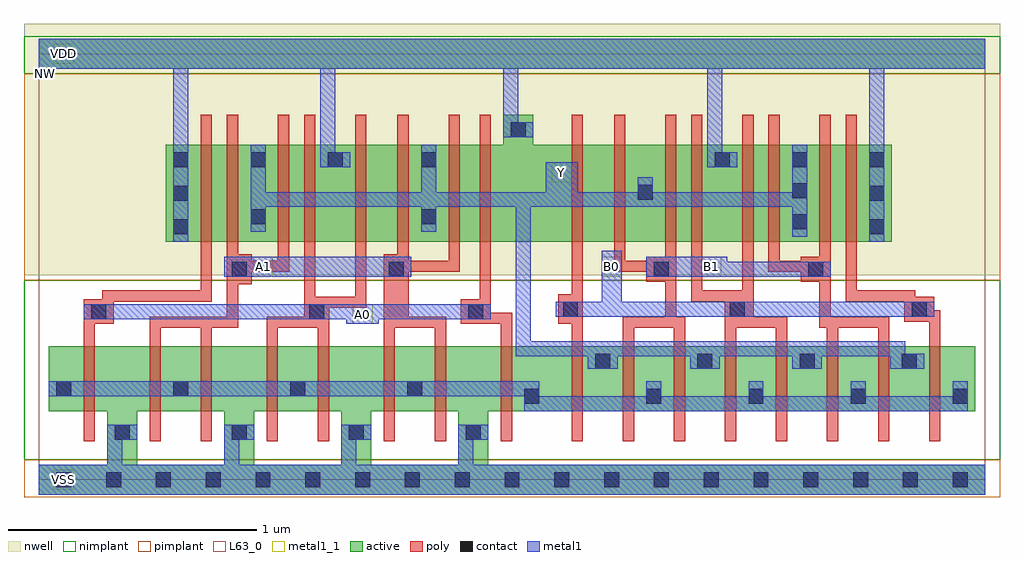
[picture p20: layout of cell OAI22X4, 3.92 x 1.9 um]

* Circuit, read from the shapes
.subckt OAI22X4 A0 A1 B0 B1 NW VDD VSS Y
M1 VSS A0 n1 VSS nfet w=0.26u l=0.045u m=4
M2 n1 A1 VSS VSS nfet w=0.26u l=0.045u m=4
M3 Y B0 n1 VSS nfet w=0.26u l=0.045u m=4
M4 n1 B1 Y VSS nfet w=0.26u l=0.045u m=4
M5 n2 A0 VDD NW pfet w=0.39u l=0.045u
M6 Y A1 n2 NW pfet w=0.39u l=0.045u
M7 n3 A1 Y NW pfet w=0.39u l=0.045u
M8 VDD A0 n3 NW pfet w=0.39u l=0.045u
M9 n4 A0 VDD NW pfet w=0.39u l=0.045u
M10 Y A1 n4 NW pfet w=0.39u l=0.045u
M11 n5 A1 Y NW pfet w=0.39u l=0.045u
M12 VDD A0 n5 NW pfet w=0.39u l=0.045u
M13 n6 B0 VDD NW pfet w=0.39u l=0.045u
M14 Y B1 n6 NW pfet w=0.39u l=0.045u
M15 n7 B1 Y NW pfet w=0.39u l=0.045u
M16 VDD B0 n7 NW pfet w=0.39u l=0.045u
M17 n8 B0 VDD NW pfet w=0.39u l=0.045u
M18 Y B1 n8 NW pfet w=0.39u l=0.045u
M19 n9 B1 Y NW pfet w=0.39u l=0.045u
M20 VDD B0 n9 NW pfet w=0.39u l=0.045u
.ends

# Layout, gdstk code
import gdstk
lib = gdstk.Library(unit=1e-6, precision=5e-10)
def R(c, l, rs):  # rectangles x0, y0, x1, y1
    for r in rs: c.add(gdstk.rectangle(r[:2], r[2:], *l))
def A(c, l, x, y, w, h, nx, ny, dx, dy):  # array of equal rectangles
    R(c, l, [(x+i*dx, y+j*dy, x+i*dx+w, y+j*dy+h) for i in range(nx) for j in range(ny)])
def P(c, l, *ps):  # polygons
    for p in ps: c.add(gdstk.Polygon(p, *l))
active = (1, 0)
nwell = (2, 0)
poly = (3, 0)
nimplant = (4, 0)
pimplant = (5, 0)
contact = (6, 0)
metal1 = (7, 0)
metal1_1 = (7, 1)
L63_0 = (63, 0)

oai22x4 = lib.new_cell('OAI22X4')
R(oai22x4, active, [(0,-0.06,3.8,0.06), (0,1.65,3.8,1.77)])
P(oai22x4, active, [(1.865,1.465),(1.985,1.465),(1.985,1.345),(3.425,1.345),(3.425,0.955),(0.51,0.955),(0.51,1.345),(1.865,1.345)],
  [(3.76,0.535),(0.04,0.535),(0.04,0.275),(0.275,0.275),(0.275,0.06),(0.395,0.06),(0.395,0.275),(0.745,0.275),(0.745,0.06),(0.865,0.06),(0.865,0.275),(1.215,0.275),(1.215,0.06),(1.335,0.06),(1.335,0.275),(1.685,0.275),(1.685,0.06),(1.805,0.06),(1.805,0.275),(3.76,0.275)])
R(oai22x4, nwell, [(-0.06,0.82,3.86,1.83), (0,1.61,0.05,1.71)])
P(oai22x4, poly, [(0.65,1.465),(0.695,1.465),(0.695,0.715),(0.3,0.715),(0.3,0.625),(0.225,0.625),(0.225,0.155),(0.18,0.155),(0.18,0.725),(0.255,0.725),(0.255,0.76),(0.65,0.76)],
  [(0.755,1.465),(0.8,1.465),(0.8,0.905),(0.855,0.905),(0.855,0.88),(0.96,0.88),(0.96,1.465),(1.005,1.465),(1.005,0.835),(0.855,0.835),(0.855,0.785),(0.8,0.785),(0.8,0.61),(0.695,0.61),(0.695,0.155),(0.65,0.155),(0.65,0.61),(0.49,0.61),(0.49,0.155),(0.445,0.155),(0.445,0.655),(0.755,0.655)],
  [(1.065,1.465),(1.11,1.465),(1.11,0.735),(1.27,0.735),(1.27,1.465),(1.315,1.465),(1.315,0.69),(1.165,0.69),(1.165,0.155),(1.12,0.155),(1.12,0.61),(0.96,0.61),(0.96,0.155),(0.915,0.155),(0.915,0.655),(1.065,0.655)],
  [(1.44,1.465),(1.485,1.465),(1.485,0.88),(1.645,0.88),(1.645,1.465),(1.69,1.465),(1.69,0.835),(1.485,0.835),(1.485,0.655),(1.635,0.655),(1.635,0.155),(1.59,0.155),(1.59,0.61),(1.43,0.61),(1.43,0.155),(1.385,0.155),(1.385,0.905),(1.44,0.905)],
  [(1.77,1.465),(1.815,1.465),(1.815,0.67),(1.9,0.67),(1.9,0.155),(1.855,0.155),(1.855,0.625),(1.695,0.625),(1.695,0.725),(1.77,0.725)],
  [(2.14,1.465),(2.185,1.465),(2.185,0.155),(2.14,0.155),(2.14,0.625),(2.085,0.625),(2.085,0.745),(2.14,0.745)],
  [(2.31,1.465),(2.355,1.465),(2.355,0.88),(2.44,0.88),(2.44,0.895),(2.515,0.895),(2.515,1.465),(2.56,1.465),(2.56,0.655),(2.595,0.655),(2.595,0.155),(2.55,0.155),(2.55,0.61),(2.39,0.61),(2.39,0.155),(2.345,0.155),(2.345,0.655),(2.515,0.655),(2.515,0.795),(2.44,0.795),(2.44,0.835),(2.31,0.835)],
  [(2.62,1.465),(2.665,1.465),(2.665,0.76),(2.825,0.76),(2.825,1.465),(2.87,1.465),(2.87,0.655),(3.005,0.655),(3.005,0.155),(2.96,0.155),(2.96,0.61),(2.8,0.61),(2.8,0.155),(2.755,0.155),(2.755,0.715),(2.62,0.715)],
  [(2.93,1.465),(2.975,1.465),(2.975,0.88),(3.06,0.88),(3.06,0.895),(3.135,0.895),(3.135,1.465),(3.18,1.465),(3.18,0.655),(3.415,0.655),(3.415,0.155),(3.37,0.155),(3.37,0.61),(3.21,0.61),(3.21,0.155),(3.165,0.155),(3.165,0.61),(3.135,0.61),(3.135,0.795),(3.06,0.795),(3.06,0.835),(2.93,0.835)],
  [(3.24,1.465),(3.285,1.465),(3.285,0.76),(3.52,0.76),(3.52,0.735),(3.595,0.735),(3.595,0.68),(3.62,0.68),(3.62,0.155),(3.575,0.155),(3.575,0.635),(3.475,0.635),(3.475,0.715),(3.24,0.715)])
R(oai22x4, nimplant, [(-0.06,0.08,3.86,0.8), (-0.06,1.63,3.86,1.78)])
R(oai22x4, pimplant, [(-0.06,-0.07,3.86,0.08), (-0.06,0.8,3.86,1.63)])
A(oai22x4, contact, 0.07, -0.03, 0.06, 0.06, 19, 1, 0.2, 0)
A(oai22x4, contact, 0.305, 0.16, 0.06, 0.06, 4, 1, 0.47, 0)
A(oai22x4, contact, 2.44, 0.305, 0.06, 0.06, 4, 1, 0.41, 0)
A(oai22x4, contact, 0.07, 0.335, 0.06, 0.06, 4, 1, 0.47, 0)
A(oai22x4, contact, 2.235, 0.445, 0.06, 0.06, 4, 1, 0.41, 0)
A(oai22x4, contact, 0.54, 1.255, 0.06, 0.06, 3, 1, 0.31, 0)
A(oai22x4, contact, 2.715, 1.255, 0.06, 0.06, 3, 1, 0.31, 0)
R(oai22x4, contact, [(1.95,0.305,2.01,0.365), (0.21,0.645,0.27,0.705), (1.085,0.645,1.145,0.705), (1.725,0.645,1.785,0.705), (2.105,0.655,2.165,0.715), (2.775,0.655,2.835,0.715), (3.505,0.655,3.565,0.715), (0.775,0.815,0.835,0.875), (1.405,0.815,1.465,0.875), (2.47,0.815,2.53,0.875), (3.09,0.815,3.15,0.875), (0.54,0.985,0.6,1.045), (3.335,0.985,3.395,1.045), (3.025,1.005,3.085,1.065), (0.85,1.025,0.91,1.085), (1.535,1.025,1.595,1.085), (0.54,1.12,0.6,1.18), (3.335,1.12,3.395,1.18), (2.405,1.125,2.465,1.185), (3.025,1.13,3.085,1.19), (1.535,1.255,1.595,1.315), (1.895,1.375,1.955,1.435)])
R(oai22x4, metal1, [(0.745,0.815,1.495,0.895), (0.54,0.955,0.6,1.65), (3.335,0.955,3.395,1.65)])
P(oai22x4, metal1, [(1.25,1.315),(1.19,1.315),(1.19,1.65),(1.13,1.65),(1.13,1.255),(1.25,1.255)],
  [(1.985,1.435),(1.925,1.435),(1.925,1.65),(1.865,1.65),(1.865,1.375),(1.985,1.375)],
  [(2.805,1.315),(2.745,1.315),(2.745,1.65),(2.685,1.65),(2.685,1.255),(2.805,1.255)],
  [(0.395,0.22),(0.275,0.22),(0.275,0.06),(0.335,0.06),(0.335,0.16),(0.395,0.16)],
  [(0.865,0.22),(0.745,0.22),(0.745,0.06),(0.805,0.06),(0.805,0.16),(0.865,0.16)],
  [(1.335,0.22),(1.215,0.22),(1.215,0.06),(1.275,0.06),(1.275,0.16),(1.335,0.16)],
  [(0.85,1.345),(0.91,1.345),(0.91,1.155),(1.535,1.155),(1.535,1.345),(1.595,1.345),(1.595,1.155),(2.035,1.155),(2.035,1.275),(2.165,1.275),(2.165,1.155),(2.405,1.155),(2.405,1.215),(2.465,1.215),(2.465,1.155),(3.025,1.155),(3.025,1.345),(3.085,1.345),(3.085,0.975),(3.025,0.975),(3.025,1.095),(1.975,1.095),(1.975,0.555),(3.48,0.555),(3.48,0.505),(3.555,0.505),(3.555,0.445),(3.42,0.445),(3.42,0.495),(3.145,0.495),(3.145,0.445),(3.025,0.445),(3.025,0.495),(2.735,0.495),(2.735,0.445),(2.615,0.445),(2.615,0.495),(2.325,0.495),(2.325,0.445),(2.205,0.445),(2.205,0.495),(1.915,0.495),(1.915,1.095),(1.595,1.095),(1.595,0.995),(1.535,0.995),(1.535,1.095),(0.91,1.095),(0.91,0.995),(0.85,0.995)],
  [(0.18,0.705),(1.815,0.705),(1.815,0.645),(1.365,0.645),(1.365,0.625),(1.235,0.625),(1.235,0.645),(0.18,0.645)],
  [(2.44,0.895),(2.765,0.895),(2.765,0.875),(3.18,0.875),(3.18,0.815),(2.44,0.815)],
  [(2.26,0.92),(2.34,0.92),(2.34,0.715),(3.595,0.715),(3.595,0.655),(2.075,0.655),(2.075,0.715),(2.26,0.715)],
  [(0.04,0.395),(2.01,0.395),(2.01,0.335),(2.44,0.335),(2.44,0.395),(2.5,0.395),(2.5,0.335),(2.85,0.335),(2.85,0.395),(2.91,0.395),(2.91,0.335),(3.26,0.335),(3.26,0.395),(3.32,0.395),(3.32,0.335),(3.67,0.335),(3.67,0.395),(3.73,0.395),(3.73,0.275),(1.95,0.275),(1.95,0.335),(0.04,0.335)],
  [(1.805,0.22),(1.685,0.22),(1.685,0.06),(1.745,0.06),(1.745,0.16),(1.805,0.16)])
R(oai22x4, metal1_1, [(0.06,-0.04,0.14,0.04), (1.26,0.625,1.34,0.705), (0.86,0.815,0.94,0.895), (2.26,0.815,2.34,0.895), (2.66,0.815,2.74,0.895), (2.06,1.195,2.14,1.275), (0.06,1.67,0.14,1.75)])
R(oai22x4, L63_0, [(0,0,3.8,1.71)])
oai22x4.add(gdstk.FlexPath([(0,0),(3.8,0)], 0.12, ends="flush", simple_path=True, layer=7, datatype=0))  # metal1
oai22x4.add(gdstk.FlexPath([(0,1.71),(3.8,1.71)], 0.12, ends="flush", simple_path=True, layer=7, datatype=0))  # metal1
oai22x4.add(gdstk.Label('Y', (2.1,1.235), layer=7, texttype=1))
oai22x4.add(gdstk.Label('A1', (0.9,0.855), layer=7, texttype=1))
oai22x4.add(gdstk.Label('B1', (2.7,0.855), layer=7, texttype=1))
oai22x4.add(gdstk.Label('A0', (1.3,0.665), layer=7, texttype=1))
oai22x4.add(gdstk.Label('B0', (2.3,0.855), layer=7, texttype=1))
oai22x4.add(gdstk.Label('VDD', (0.1,1.71), layer=7, texttype=1))
oai22x4.add(gdstk.Label('VSS', (0.1,0), layer=7, texttype=1))
oai22x4.add(gdstk.Label('VSS', (0.1,0), layer=7, texttype=1))
oai22x4.add(gdstk.Label('VDD', (0.1,1.71), layer=7, texttype=1))
oai22x4.add(gdstk.Label('B0', (2.3,0.855), layer=7, texttype=1))
oai22x4.add(gdstk.Label('A0', (1.3,0.665), layer=7, texttype=1))
oai22x4.add(gdstk.Label('B1', (2.7,0.855), layer=7, texttype=1))
oai22x4.add(gdstk.Label('A1', (0.9,0.855), layer=7, texttype=1))
oai22x4.add(gdstk.Label('Y', (2.1,1.235), layer=7, texttype=1))
oai22x4.add(gdstk.Label('OAI22X4', (0,0), layer=63, texttype=0))
oai22x4.add(gdstk.Label('NW', (0.025,1.66), layer=2, texttype=0))
oai22x4.add(gdstk.Label('NW', (0.025,1.63), layer=2, texttype=0))

lib.write_gds('OAI22X4.gds')
